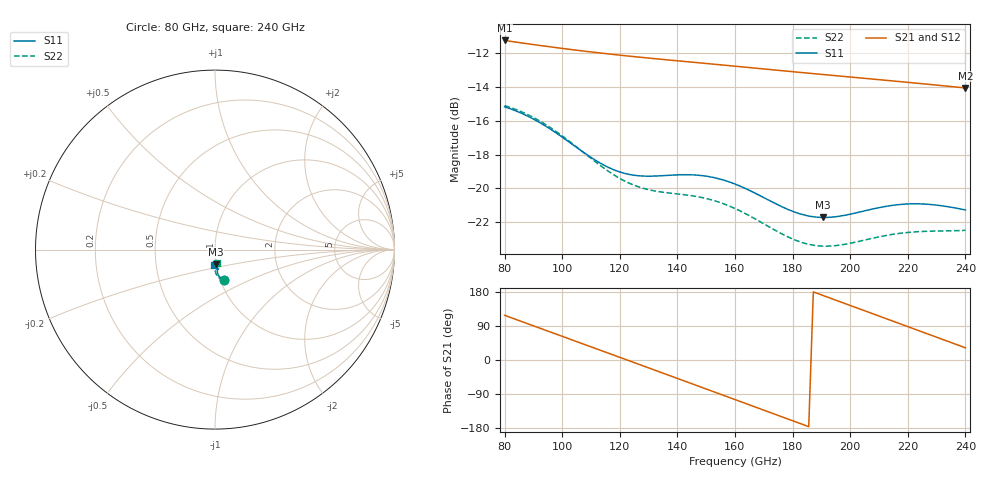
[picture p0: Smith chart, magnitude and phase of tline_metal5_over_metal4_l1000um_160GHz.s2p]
#  GHZ S DB R 50
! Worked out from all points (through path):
!   101 points, 80 GHz to 240 GHz, reference 50 ohm
!   highest |S21| = -11.24 dB at 80 GHz (marker M1); lowest = -14.0 dB at 240 GHz (marker M2)
!   group delay of S21, straight-line fit = 7.74 ps
!   lowest |S11| = -21.7 dB at 190.4 GHz (marker M3), VSWR 1.18, Z = 49.9 - j8.22 ohm
!   |S11| at or under -10 dB: start of sweep to end of sweep
!   |S22| runs from -23.4 to -15.1 dB; largest |S21 - S12| = 2.4e-13
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80  -15.17 -73.1  -11.24 118.0  -11.24 118.0  -15.09 -74.2
86.4  -15.59 -76.6  -11.40 100.2  -11.40 100.2  -15.50 -78.1
92.8  -16.16 -80.0  -11.55 82.5  -11.55 82.5  -16.06 -82.1
99.2  -16.86 -82.7  -11.69 64.7  -11.69 64.7  -16.79 -85.7
107.2  -17.84 -84.2  -11.86 42.5  -11.86 42.5  -17.84 -88.5
113.6  -18.54 -83.7  -11.99 24.7  -11.99 24.7  -18.69 -89.1
120  -19.02 -82.2  -12.11 7.0  -12.11 7.0  -19.40 -88.3
126.4  -19.25 -80.6  -12.22 -10.8  -12.22 -10.8  -19.90 -86.9
134.4  -19.25 -80.0  -12.35 -33.0  -12.35 -33.0  -20.21 -85.6
147.2  -19.22 -83.1  -12.56 -68.7  -12.56 -68.7  -20.49 -86.9
153.6  -19.39 -85.8  -12.66 -86.6  -12.66 -86.6  -20.76 -88.7
160  -19.74 -88.4  -12.76 -104.4  -12.76 -104.4  -21.18 -90.5
166.4  -20.23 -90.2  -12.87 -122.3  -12.87 -122.3  -21.74 -91.5
174.4  -20.92 -90.8  -13.00 -144.6  -13.00 -144.6  -22.52 -91.0
180.8  -21.40 -89.6  -13.10 -162.5  -13.10 -162.5  -23.05 -89.0
187.2  -21.67 -87.4  -13.20 179.7  -13.20 179.7  -23.36 -85.9
190.4  -21.72 -86.3  -13.25 170.7  -13.25 170.7  -23.41 -84.3
203.2  -21.40 -83.9  -13.45 135.0  -13.45 135.0  -23.12 -80.1
214.4  -21.01 -85.7  -13.63 103.7  -13.63 103.7  -22.72 -80.0
220.8  -20.91 -87.8  -13.73 85.9  -13.73 85.9  -22.59 -80.9
227.2  -20.94 -90.1  -13.84 68.0  -13.84 68.0  -22.53 -81.8
240  -21.27 -93.9  -14.05 32.2  -14.05 32.2  -22.48 -83.1
